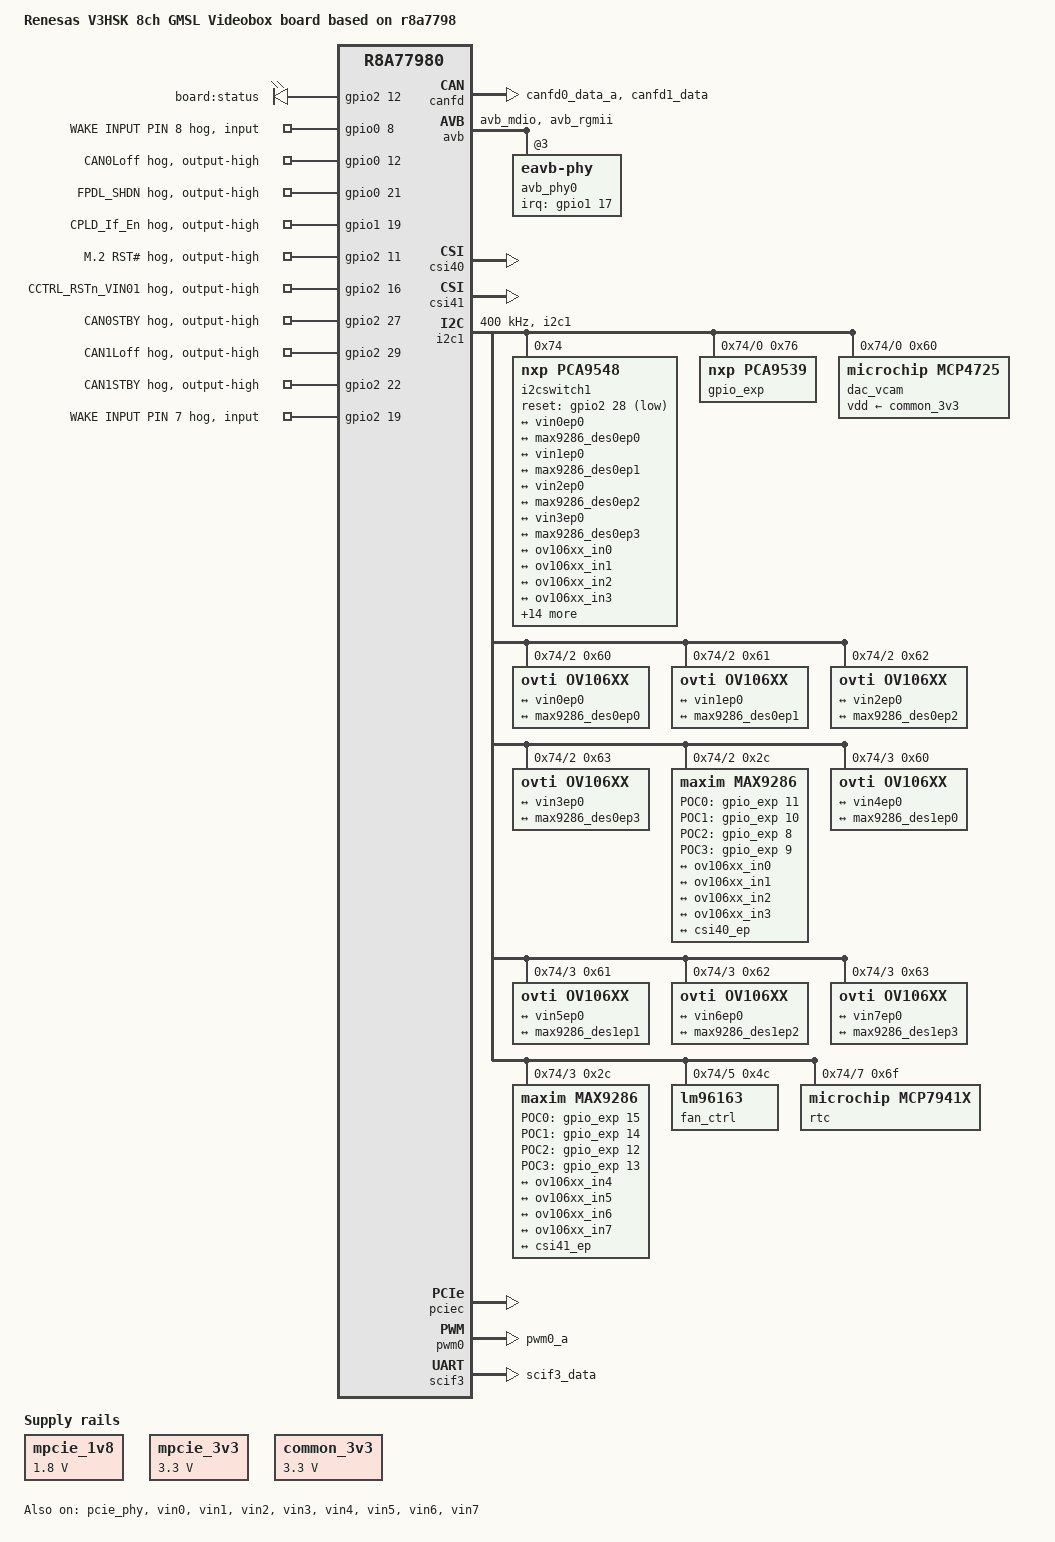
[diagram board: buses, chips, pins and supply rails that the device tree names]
/*
 * Device Tree Source for the V3HSK Videobox Mini board on r8a7798
 *
 * Copyright (C) 2018 Cogent Embedded, Inc.
 *
 * This file is licensed under the terms of the GNU General Public License
 * version 2.  This program is licensed "as is" without any warranty of any
 * kind, whether express or implied.
 */

#include "r8a77980-v3hsk.dts"
#include <dt-bindings/gpio/gpio.h>
/* FDPLink output */
//#include "vb-fdplink-output.dtsi"

/ {
	model = "Renesas V3HSK 8ch GMSL Videobox board based on r8a7798";

	aliases {
		serial1 = &scif3;
		ethernet1 = &avb;
	};

	leds {
		compatible = "gpio-leds";

		led0 {
			label = "board:status";
			gpios = <&gpio2 12 GPIO_ACTIVE_HIGH>;
			linux,default-trigger = "none";
		};
	};

	mpcie_1v8: regulator2 {
		compatible = "regulator-fixed";
		regulator-name = "mPCIe 1v8";
		regulator-min-microvolt = <1800000>;
		regulator-max-microvolt = <1800000>;
		regulator-boot-on;
		regulator-always-on;
	};

	mpcie_3v3: regulator3 {
		compatible = "regulator-fixed";
		regulator-name = "mPCIe 3v3";
		regulator-min-microvolt = <3300000>;
		regulator-max-microvolt = <3300000>;
		regulator-boot-on;
		regulator-always-on;
	};

	common_3v3: regulator4 {
		compatible = "regulator-fixed";
		regulator-name = "main 3v3";
		regulator-min-microvolt = <3300000>;
		regulator-max-microvolt = <3300000>;
		regulator-boot-on;
		regulator-always-on;
	};
};

&canfd {
	pinctrl-0 = <&canfd0_pins &canfd1_pins>;
	pinctrl-names = "default";
	status = "okay";

	channel0 {
		status = "okay";
	};

	channel1 {
		status = "okay";
	};
};

&avb {
	pinctrl-0 = <&avb_pins>;
	pinctrl-names = "default";
	renesas,no-ether-link;
	phy-handle = <&avb_phy0>;
	status = "okay";
	phy-int-gpio = <&gpio1 17 GPIO_ACTIVE_LOW>;

	avb_phy0: eavb-phy@0 {
		rxc-skew-ps = <1500>;
		rxdv-skew-ps = <420>; /* default */
		rxd0-skew-ps = <420>; /* default */
		rxd1-skew-ps = <420>; /* default */
		rxd2-skew-ps = <420>; /* default */
		rxd3-skew-ps = <420>; /* default */
		txc-skew-ps = <900>; /* default */
		txen-skew-ps = <420>; /* default */
		txd0-skew-ps = <420>; /* default */
		txd1-skew-ps = <420>; /* default */
		txd2-skew-ps = <420>; /* default */
		txd3-skew-ps = <420>; /* default */
		reg = <3>;
		interrupt-parent = <&gpio1>;
		interrupts = <17 IRQ_TYPE_LEVEL_LOW>;
		max-speed = <1000>;
	};
};

&csi40 {
	status = "okay";

	port {
		#address-cells = <1>;
		#size-cells = <0>;

		csi40_ep: endpoint {
			clock-lanes = <0>;
			data-lanes = <1 2 3 4>;
			csi-rate = <700>;
		};
	};
};

&csi41 {
	status = "okay";

	port {
		#address-cells = <1>;
		#size-cells = <0>;

		csi41_ep: endpoint {
			clock-lanes = <0>;
			data-lanes = <1 2 3 4>;
			csi-rate = <700>;
		};
	};
};

&i2c1 {
	pinctrl-0 = <&i2c1_pins>;
	pinctrl-names = "default";
	status = "okay";

	clock-frequency = <400000>;
	multi-master;

	i2cswitch1: i2c-switch@74 {
		compatible = "nxp,pca9548";
		#address-cells = <1>;
		#size-cells = <0>;
		reg = <0x74>;
		reset-gpios = <&gpio2 28 GPIO_ACTIVE_LOW>;

		/* CTL0_SDA and CTL0_SCL */
		i2c@0 {
			#address-cells = <1>;
			#size-cells = <0>;
			reg = <0>;

			gpio_exp: gpio_exp@76 {
				compatible = "nxp,pca9539";
				reg = <0x76>;
				gpio-controller;
				#gpio-cells = <2>;

				des0_shdn {
					gpio-hog;
					gpios = <1 GPIO_ACTIVE_HIGH>;
					output-high;
					line-name = "Des0SHDN";
				};
				des1_shdn {
					gpio-hog;
					gpios = <0 GPIO_ACTIVE_HIGH>;
					output-high;
					line-name = "Des1SHDN";
				};
				cmr_pwen {
					gpio-hog;
					gpios = <3 GPIO_ACTIVE_HIGH>;
					output-high;
					line-name = "CmrPEN";
				};
			};

			dac_vcam: dac_vcam@60 {
				compatible = "microchip,mcp4725";
				reg = <0x60>;
				vdd-supply = <&common_3v3>;
			};
		};

		/* DS0_SDA and DS0_SCL */
		i2c@2 {
			#address-cells = <1>;
			#size-cells = <0>;
			reg = <2>;

			/* Deser #0 nodes here */
			ov106xx@0 {
				compatible = "ovti,ov106xx";
				reg = <0x60>;

				port@0 {
					ov106xx_in0: endpoint {
						clock-lanes = <0>;
						data-lanes = <1 2 3 4>;
						remote-endpoint = <&vin0ep0>;
					};
				};
				port@1 {
					ov106xx_max9286_des0ep0: endpoint@1 {
						remote-endpoint = <&max9286_des0ep0>;
					};
				};
			};

			ov106xx@1 {
				compatible = "ovti,ov106xx";
				reg = <0x61>;

				port@0 {
					ov106xx_in1: endpoint {
						clock-lanes = <0>;
						data-lanes = <1 2 3 4>;
						remote-endpoint = <&vin1ep0>;
					};
				};
				port@1 {
					ov106xx_max9286_des0ep1: endpoint@1 {
						remote-endpoint = <&max9286_des0ep1>;
					};
				};
			};

			ov106xx@2 {
				compatible = "ovti,ov106xx";
				reg = <0x62>;

				port@0 {
					ov106xx_in2: endpoint {
						clock-lanes = <0>;
						data-lanes = <1 2 3 4>;
						remote-endpoint = <&vin2ep0>;
					};
				};
				port@1 {
					ov106xx_max9286_des0ep2: endpoint@1 {
						remote-endpoint = <&max9286_des0ep2>;
					};
				};
			};

			ov106xx@3 {
				compatible = "ovti,ov106xx";
				reg = <0x63>;

				port@0 {
					ov106xx_in3: endpoint {
						clock-lanes = <0>;
						data-lanes = <1 2 3 4>;
						remote-endpoint = <&vin3ep0>;
					};
				};
				port@1 {
					ov106xx_max9286_des0ep3: endpoint@1 {
						remote-endpoint = <&max9286_des0ep3>;
					};
				};
			};

			max9286@0 {
				compatible = "maxim,max9286";
				reg = <0x2c>;
				maxim,links = <4>;
				maxim,lanes = <4>;
				maxim,resetb-gpio = <1>;
				maxim,fsync-mode = "automatic";
				maxim,timeout = <100>;

				POC0-gpios = <&gpio_exp 11 GPIO_ACTIVE_HIGH>;
				POC1-gpios = <&gpio_exp 10 GPIO_ACTIVE_HIGH>;
				POC2-gpios = <&gpio_exp 8  GPIO_ACTIVE_HIGH>;
				POC3-gpios = <&gpio_exp 9  GPIO_ACTIVE_HIGH>;

				port@0 {
					max9286_des0ep0: endpoint@0 {
						max9271-addr = <0x50>;
						dvp-order = <1>;
						remote-endpoint = <&ov106xx_in0>;
					};
					max9286_des0ep1: endpoint@1 {
						max9271-addr = <0x51>;
						dvp-order = <1>;
						remote-endpoint = <&ov106xx_in1>;
					};
					max9286_des0ep2: endpoint@2 {
						max9271-addr = <0x52>;
						dvp-order = <1>;
						remote-endpoint = <&ov106xx_in2>;
					};
					max9286_des0ep3: endpoint@3 {
						max9271-addr = <0x53>;
						dvp-order = <1>;
						remote-endpoint = <&ov106xx_in3>;
					};
				};
				port@1 {
					max9286_csi0ep0: endpoint {
						csi-rate = <700>;
						remote-endpoint = <&csi40_ep>;
					};
				};
			};
		};

		/* DS1_SDA and DS1_SCL */
		i2c@3 {
			#address-cells = <1>;
			#size-cells = <0>;
			reg = <3>;

			/* Deser #1 nodes here */
			ov106xx@4 {
				compatible = "ovti,ov106xx";
				reg = <0x60>;

				port@0 {
					ov106xx_in4: endpoint {
						clock-lanes = <0>;
						data-lanes = <1 2 3 4>;
						remote-endpoint = <&vin4ep0>;
					};
				};
				port@1 {
					ov106xx_max9286_des1ep0: endpoint@1 {
						remote-endpoint = <&max9286_des1ep0>;
					};
				};
			};

			ov106xx@5 {
				compatible = "ovti,ov106xx";
				reg = <0x61>;

				port@0 {
					ov106xx_in5: endpoint {
						clock-lanes = <0>;
						data-lanes = <1 2 3 4>;
						remote-endpoint = <&vin5ep0>;
					};
				};
				port@1 {
					ov106xx_max9286_des1ep1: endpoint@1 {
						remote-endpoint = <&max9286_des1ep1>;
					};
				};
			};

			ov106xx@6 {
				compatible = "ovti,ov106xx";
				reg = <0x62>;

				port@0 {
					ov106xx_in6: endpoint {
						clock-lanes = <0>;
						data-lanes = <1 2 3 4>;
						remote-endpoint = <&vin6ep0>;
					};
				};
				port@1 {
					ov106xx_max9286_des1ep2: endpoint@1 {
						remote-endpoint = <&max9286_des1ep2>;
					};
				};
			};

			ov106xx@7 {
				compatible = "ovti,ov106xx";
				reg = <0x63>;

				port@0 {
					ov106xx_in7: endpoint {
						clock-lanes = <0>;
						data-lanes = <1 2 3 4>;
						remote-endpoint = <&vin7ep0>;
					};
				};
				port@1 {
					ov106xx_max9286_des1ep3: endpoint@1 {
						remote-endpoint = <&max9286_des1ep3>;
					};
				};
			};

			max9286@0 {
				compatible = "maxim,max9286";
				reg = <0x2c>;
				maxim,links = <4>;
				maxim,lanes = <4>;
				maxim,resetb-gpio = <1>;
				maxim,fsync-mode = "automatic";
				maxim,timeout = <100>;

				POC0-gpios = <&gpio_exp 15 GPIO_ACTIVE_HIGH>;
				POC1-gpios = <&gpio_exp 14 GPIO_ACTIVE_HIGH>;
				POC2-gpios = <&gpio_exp 12 GPIO_ACTIVE_HIGH>;
				POC3-gpios = <&gpio_exp 13 GPIO_ACTIVE_HIGH>;

				port@0 {
					max9286_des1ep0: endpoint@0 {
						max9271-addr = <0x50>;
						dvp-order = <1>;
						remote-endpoint = <&ov106xx_in4>;
					};
					max9286_des1ep1: endpoint@1 {
						max9271-addr = <0x51>;
						dvp-order = <1>;
						remote-endpoint = <&ov106xx_in5>;
					};
					max9286_des1ep2: endpoint@2 {
						max9271-addr = <0x52>;
						dvp-order = <1>;
						remote-endpoint = <&ov106xx_in6>;
					};
					max9286_des1ep3: endpoint@3 {
						max9271-addr = <0x53>;
						dvp-order = <1>;
						remote-endpoint = <&ov106xx_in7>;
					};
				};
				port@1 {
					max9286_csi1ep0: endpoint {
						csi-rate = <700>;
						remote-endpoint = <&csi41_ep>;
					};
				};
			};
		};

		/* ESDA and ESCL */
		i2c@5 {
			#address-cells = <1>;
			#size-cells = <0>;
			reg = <5>;

			/* fan node - lm96063 */
			fan_ctrl: lm96063@4c {
				compatible = "lm96163";
				reg = <0x4c>;
			};
		};

		/* Disp_SDA and Disp_SCL */
		i2c@6 {
			#address-cells = <1>;
			#size-cells = <0>;
			reg = <6>;

			/* ext I2C bus nodes */
		};

		/* RTC_SDA and RTC_SCL */
		i2c@7 {
			#address-cells = <1>;
			#size-cells = <0>;
			reg = <7>;

			rtc: mcp79411@6f {
				compatible = "microchip,mcp7941x";
				reg = <0x6f>;
			};
		};

	};
};

&gpio0 {
	wake_pin_8 {
		gpio-hog;
		gpios = <8 GPIO_ACTIVE_HIGH>;
		input;
		line-name = "WAKE INPUT PIN 8";
	};

	can0_load {
		gpio-hog;
		gpios = <12 GPIO_ACTIVE_HIGH>;
		output-high;
		line-name = "CAN0Loff";
	};

	fpdl_shdn {
		gpio-hog;
		gpios = <21 GPIO_ACTIVE_HIGH>;
		output-high;
		line-name = "FPDL_SHDN";
	};
};

&gpio1 {
	md_buf_en {
		gpio-hog;
		gpios = <19 GPIO_ACTIVE_HIGH>;
		output-high;
		line-name = "CPLD_If_En";
	};
};

&gpio2 {
	m2_rst {
		gpio-hog;
		gpios = <11 GPIO_ACTIVE_HIGH>;
		output-high;
		line-name = "M.2 RST#";
	};

	rst_vin01 {
		gpio-hog;
		gpios = <16 GPIO_ACTIVE_HIGH>;
		output-high;
		line-name = "CCTRL_RSTn_VIN01";
	};

	can0_stby {
		gpio-hog;
		gpios = <27 GPIO_ACTIVE_HIGH>;
		output-high;
		line-name = "CAN0STBY";
	};

	can1_load {
		gpio-hog;
		gpios = <29 GPIO_ACTIVE_HIGH>;
		output-high;
		line-name = "CAN1Loff";
	};

	can1_stby {
		gpio-hog;
		gpios = <22 GPIO_ACTIVE_HIGH>;
		output-high;
		line-name = "CAN1STBY";
	};

	wake_pin_7 {
		gpio-hog;
		gpios = <19 GPIO_ACTIVE_HIGH>;
		input;
		line-name = "WAKE INPUT PIN 7";
	};
};

&pcie_bus_clk {
	clock-frequency = <100000000>;
	status = "okay";
};

&pciec {
	pcie3v3-supply = <&mpcie_3v3>;
	pcie1v8-supply = <&mpcie_1v8>;
	status = "okay";
};

&pcie_phy {
	status = "okay";
};

&pfc {
	canfd0_pins: canfd0 {
		groups = "canfd0_data_a";
		function = "canfd0";
	};

	canfd1_pins: canfd1 {
		groups = "canfd1_data";
		function = "canfd1";
	};

	avb_pins: avb {
		groups = "avb_mdio", "avb_rgmii";
		function = "avb";
	};

	i2c1_pins: i2c1 {
		groups = "i2c1";
		function = "i2c1";
	};

	pwm0_pins: pwm0 {
		groups = "pwm0_a";
		function = "pwm0";
	};

	scif3_pins: scif3 {
		groups = "scif3_data";
		function = "scif3";
	};
};

&pwm0 {
	pinctrl-0 = <&pwm0_pins>;
	pinctrl-names = "default";
	status = "okay";
};

&scif3 {
	pinctrl-0 = <&scif3_pins>;
	pinctrl-names = "default";

	status = "okay";
};

&tpu {
	status = "disabled";
};

&vin0 {
	status = "okay";

	ports {
		#address-cells = <1>;
		#size-cells = <0>;

		port@0 {
			vin0ep0: endpoint {
				csi,select = "csi40";
				virtual,channel = <0>;
				data-lanes = <1 2 3 4>;
				remote-endpoint = <&ov106xx_in0>;
			};
		};
		port@1 {
			csi0ep0: endpoint {
				remote-endpoint = <&csi40_ep>;
			};
		};
		port@2 {
			vin0_max9286_des0ep0: endpoint@1 {
				remote-endpoint = <&max9286_des0ep0>;
			};
		};
	};
};

&vin1 {
	status = "okay";

	ports {
		#address-cells = <1>;
		#size-cells = <0>;

		port@0 {
			vin1ep0: endpoint {
				csi,select = "csi40";
				virtual,channel = <1>;
				data-lanes = <1 2 3 4>;
				remote-endpoint = <&ov106xx_in1>;
			};
		};
		port@1 {
			csi0ep1: endpoint {
				remote-endpoint = <&csi40_ep>;
			};
		};
		port@2 {
			vin1_max9286_des0ep1: endpoint@1 {
				remote-endpoint = <&max9286_des0ep1>;
			};
		};
	};
};

&vin2 {
	status = "okay";

	ports {
		#address-cells = <1>;
		#size-cells = <0>;

		port@0 {
			vin2ep0: endpoint {
				csi,select = "csi40";
				virtual,channel = <2>;
				data-lanes = <1 2 3 4>;
				remote-endpoint = <&ov106xx_in2>;
			};
		};
		port@1 {
			csi0ep2: endpoint {
				remote-endpoint = <&csi40_ep>;
			};
		};
		port@2 {
			vin6_max9286_des0ep2: endpoint@1 {
				remote-endpoint = <&max9286_des0ep2>;
			};
		};
	};
};

&vin3 {
	status = "okay";

	ports {
		#address-cells = <1>;
		#size-cells = <0>;

		port@0 {
			vin3ep0: endpoint {
				csi,select = "csi40";
				virtual,channel = <3>;
				data-lanes = <1 2 3 4>;
				remote-endpoint = <&ov106xx_in3>;
			};
		};
		port@1 {
			csi0ep3: endpoint {
				remote-endpoint = <&csi40_ep>;
			};
		};
		port@2 {
			vin7_max9286_des0ep3: endpoint@1 {
				remote-endpoint = <&max9286_des0ep3>;
			};
		};
	};
};

&vin4 {
	status = "okay";

	ports {
		#address-cells = <1>;
		#size-cells = <0>;

		port@0 {
			vin4ep0: endpoint {
				csi,select = "csi41";
				virtual,channel = <0>;
				data-lanes = <1 2 3 4>;
				remote-endpoint = <&ov106xx_in4>;
			};
		};
		port@1 {
			csi1ep0: endpoint {
				remote-endpoint = <&csi41_ep>;
			};
		};
		port@2 {
			vin4_max9286_des0ep0: endpoint@1 {
				remote-endpoint = <&max9286_des1ep0>;
			};
		};
	};
};

&vin5 {
	status = "okay";

	ports {
		#address-cells = <1>;
		#size-cells = <0>;

		port@0 {
			vin5ep0: endpoint {
				csi,select = "csi41";
				virtual,channel = <1>;
				data-lanes = <1 2 3 4>;
				remote-endpoint = <&ov106xx_in5>;
			};
		};
		port@1 {
			csi1ep1: endpoint {
				remote-endpoint = <&csi41_ep>;
			};
		};
		port@2 {
			vin5_max9286_des1ep1: endpoint@1 {
				remote-endpoint = <&max9286_des1ep1>;
			};
		};
	};
};

&vin6 {
	status = "okay";

	ports {
		#address-cells = <1>;
		#size-cells = <0>;

		port@0 {
			vin6ep0: endpoint {
				csi,select = "csi41";
				virtual,channel = <2>;
				data-lanes = <1 2 3 4>;
				remote-endpoint = <&ov106xx_in6>;
			};
		};
		port@1 {
			csi1ep2: endpoint {
				remote-endpoint = <&csi41_ep>;
			};
		};
		port@2 {
			vin6_max9286_des1ep2: endpoint@1 {
				remote-endpoint = <&max9286_des1ep2>;
			};
		};
	};
};

&vin7 {
	status = "okay";

	ports {
		#address-cells = <1>;
		#size-cells = <0>;

		port@0 {
			vin7ep0: endpoint {
				csi,select = "csi41";
				virtual,channel = <3>;
				data-lanes = <1 2 3 4>;
				remote-endpoint = <&ov106xx_in7>;
			};
		};
		port@1 {
			csi1ep3: endpoint {
				remote-endpoint = <&csi41_ep>;
			};
		};
		port@2 {
			vin7_max9286_des1ep3: endpoint@1 {
				remote-endpoint = <&max9286_des1ep3>;
			};
		};
	};
};
